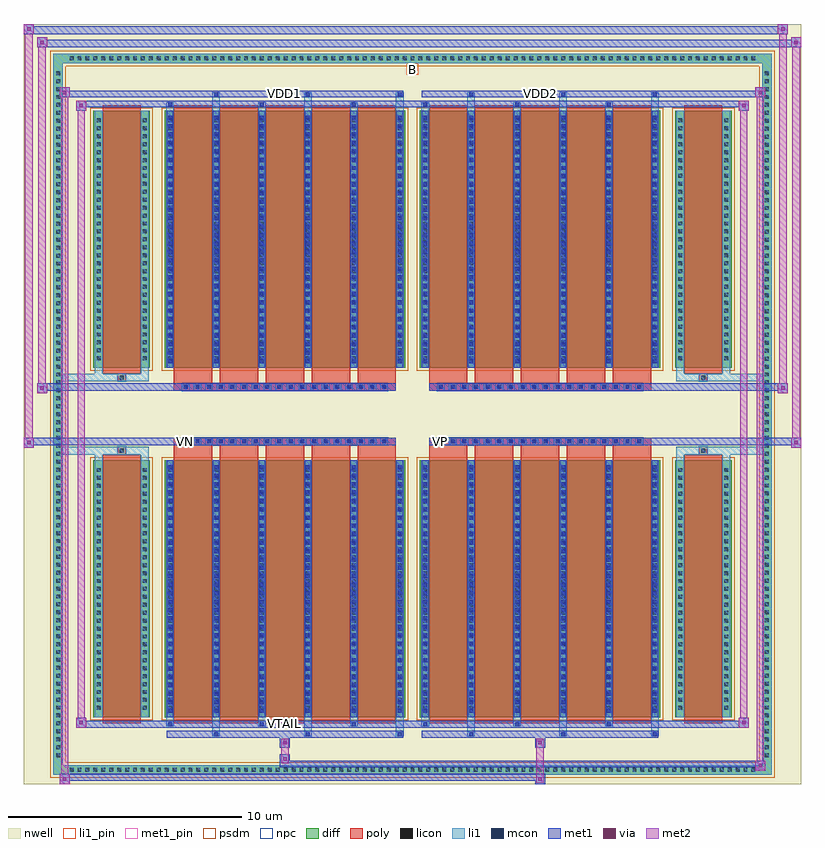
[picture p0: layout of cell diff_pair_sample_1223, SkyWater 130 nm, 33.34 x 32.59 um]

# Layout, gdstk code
import gdstk
lib = gdstk.Library(unit=1e-6, precision=5e-09)
def R(c, l, rs):  # rectangles x0, y0, x1, y1
    for r in rs: c.add(gdstk.rectangle(r[:2], r[2:], *l))
def A(c, l, x, y, w, h, nx, ny, dx, dy):  # array of equal rectangles
    R(c, l, [(x+i*dx, y+j*dy, x+i*dx+w, y+j*dy+h) for i in range(nx) for j in range(ny)])
def P(c, l, *ps):  # polygons
    for p in ps: c.add(gdstk.Polygon(p, *l))
nwell = (64, 20)
diff = (65, 20)
poly = (66, 20)
licon = (66, 44)
li1_pin = (67, 16)
li1 = (67, 20)
mcon = (67, 44)
met1_pin = (68, 16)
met1 = (68, 20)
via = (68, 44)
met2 = (69, 20)
psdm = (94, 20)
npc = (95, 20)

diff_pair_sample_1223 = lib.new_cell('diff_pair_sample_1223')
R(diff_pair_sample_1223, nwell, [(-16.67,-15.86,16.67,16.73), (-13.99,-14.05,-0.01,-0.805), (0.01,-14.05,13.99,-0.805), (-13.99,0.805,-0.01,14.05), (0.01,0.805,13.99,14.05)])
A(diff_pair_sample_1223, diff, -14.825, -15.46, 0.41, 0.41, 87, 2, 0.34, 30.51)
A(diff_pair_sample_1223, diff, -15.4, -14.825, 0.41, 0.41, 1, 87, 0, 0.34)
A(diff_pair_sample_1223, diff, 14.99, -14.825, 0.41, 0.41, 1, 87, 0, 0.34)
R(diff_pair_sample_1223, diff, [(-14.825,-15.46,14.825,-15.05), (-15.4,-14.825,-14.99,14.825), (14.99,-14.825,15.4,14.825), (-13.68,-13.005,-11.26,-1.985), (-10.62,-13.005,-0.32,-1.985), (0.32,-13.005,10.62,-1.985), (11.26,-13.005,13.68,-1.985), (-13.68,1.985,-11.26,13.005), (-10.62,1.985,-0.32,13.005), (0.32,1.985,10.62,13.005), (11.26,1.985,13.68,13.005), (-14.825,15.05,14.825,15.46)])
P(diff_pair_sample_1223, diff, [(15.4,15.46),(-15.4,15.46),(-15.4,-15.05),(-14.99,-15.05),(-14.99,15.05),(14.99,15.05),(14.99,-15.05),(-14.99,-15.05),(-15.4,-15.05),(-15.4,-15.46),(15.4,-15.46)])
A(diff_pair_sample_1223, poly, -10.23, -13.255, 1.64, 11.52, 5, 2, 1.97, 14.99)
A(diff_pair_sample_1223, poly, 0.71, -13.255, 1.64, 11.52, 5, 2, 1.97, 14.99)
A(diff_pair_sample_1223, poly, -10.23, -1.735, 1.64, 0.4, 5, 2, 1.97, 3.07)
A(diff_pair_sample_1223, poly, 0.71, -1.735, 1.64, 0.4, 5, 2, 1.97, 3.07)
A(diff_pair_sample_1223, poly, -9.885, -1.335, 0.33, 0.33, 18, 2, 0.5, 2.34)
A(diff_pair_sample_1223, poly, 1.055, -1.335, 0.33, 0.33, 18, 2, 0.5, 2.34)
R(diff_pair_sample_1223, poly, [(-13.29,-13.255,-11.65,-1.735), (11.65,-13.255,13.29,-1.735), (-12.635,-1.735,-12.305,-1.405), (-12.635,-1.735,-12.305,-1.405), (12.305,-1.735,12.635,-1.405), (12.305,-1.735,12.635,-1.405), (-10.23,-1.335,-0.71,-1.005), (0.71,-1.335,10.23,-1.005), (-10.23,1.005,-0.71,1.335), (0.71,1.005,10.23,1.335), (-12.635,1.405,-12.305,1.735), (-12.635,1.405,-12.305,1.735), (12.305,1.405,12.635,1.735), (12.305,1.405,12.635,1.735), (-13.29,1.735,-11.65,13.255), (11.65,1.735,13.29,13.255)])
A(diff_pair_sample_1223, licon, -14.705, -15.34, 0.17, 0.17, 87, 2, 0.34, 30.51)
A(diff_pair_sample_1223, licon, -15.28, -14.705, 0.17, 0.17, 1, 87, 0, 0.34)
A(diff_pair_sample_1223, licon, 15.11, -14.705, 0.17, 0.17, 1, 87, 0, 0.34)
A(diff_pair_sample_1223, licon, -13.54, -12.68, 0.17, 0.17, 1, 31, 0, 0.34)
A(diff_pair_sample_1223, licon, -11.57, -12.68, 0.17, 0.17, 1, 31, 0, 0.34)
A(diff_pair_sample_1223, licon, -10.48, -12.68, 0.17, 0.17, 6, 31, 1.97, 0.34)
A(diff_pair_sample_1223, licon, 0.46, -12.68, 0.17, 0.17, 6, 31, 1.97, 0.34)
A(diff_pair_sample_1223, licon, 11.4, -12.68, 0.17, 0.17, 1, 31, 0, 0.34)
A(diff_pair_sample_1223, licon, 13.37, -12.68, 0.17, 0.17, 1, 31, 0, 0.34)
A(diff_pair_sample_1223, licon, -9.805, -1.255, 0.17, 0.17, 18, 2, 0.5, 2.34)
A(diff_pair_sample_1223, licon, 1.135, -1.255, 0.17, 0.17, 18, 2, 0.5, 2.34)
A(diff_pair_sample_1223, licon, -13.54, 2.31, 0.17, 0.17, 1, 31, 0, 0.34)
A(diff_pair_sample_1223, licon, -11.57, 2.31, 0.17, 0.17, 1, 31, 0, 0.34)
A(diff_pair_sample_1223, licon, -10.48, 2.31, 0.17, 0.17, 6, 31, 1.97, 0.34)
A(diff_pair_sample_1223, licon, 0.46, 2.31, 0.17, 0.17, 6, 31, 1.97, 0.34)
A(diff_pair_sample_1223, licon, 11.4, 2.31, 0.17, 0.17, 1, 31, 0, 0.34)
A(diff_pair_sample_1223, licon, 13.37, 2.31, 0.17, 0.17, 1, 31, 0, 0.34)
R(diff_pair_sample_1223, licon, [(-12.555,-1.655,-12.385,-1.485), (12.385,-1.655,12.555,-1.485), (-12.555,1.485,-12.385,1.655), (12.385,1.485,12.555,1.655)])
R(diff_pair_sample_1223, li1_pin, [(-0.25,14.55,0.25,15.05)])
A(diff_pair_sample_1223, li1, -14.785, -15.42, 0.33, 0.33, 87, 2, 0.34, 30.51)
A(diff_pair_sample_1223, li1, -15.36, -14.785, 0.33, 0.33, 1, 87, 0, 0.34)
A(diff_pair_sample_1223, li1, 15.03, -14.785, 0.33, 0.33, 1, 87, 0, 0.34)
A(diff_pair_sample_1223, li1, -8.59, -13.81, 0.33, 0.805, 3, 2, 3.94, 26.815)
A(diff_pair_sample_1223, li1, -8.51, -13.81, 0.17, 0.17, 3, 2, 3.94, 27.45)
A(diff_pair_sample_1223, li1, 2.35, -13.81, 0.33, 0.805, 3, 2, 3.94, 26.815)
A(diff_pair_sample_1223, li1, 2.43, -13.81, 0.17, 0.17, 3, 2, 3.94, 27.45)
A(diff_pair_sample_1223, li1, -10.56, -13.38, 0.33, 0.375, 3, 2, 3.94, 26.385)
A(diff_pair_sample_1223, li1, -10.48, -13.38, 0.17, 0.17, 3, 2, 3.94, 26.59)
A(diff_pair_sample_1223, li1, 0.38, -13.38, 0.33, 0.375, 3, 2, 3.94, 26.385)
A(diff_pair_sample_1223, li1, 0.46, -13.38, 0.17, 0.17, 3, 2, 3.94, 26.59)
A(diff_pair_sample_1223, li1, -10.56, -13.005, 0.33, 11.02, 6, 2, 1.97, 14.99)
A(diff_pair_sample_1223, li1, 0.38, -13.005, 0.33, 11.02, 6, 2, 1.97, 14.99)
A(diff_pair_sample_1223, li1, -10.48, -12.8, 0.17, 0.17, 6, 30, 1.97, 0.36)
A(diff_pair_sample_1223, li1, -10.48, -12.8, 0.17, 10.61, 6, 2, 1.97, 14.99)
A(diff_pair_sample_1223, li1, 0.46, -12.8, 0.17, 0.17, 6, 30, 1.97, 0.36)
A(diff_pair_sample_1223, li1, 0.46, -12.8, 0.17, 10.61, 6, 2, 1.97, 14.99)
A(diff_pair_sample_1223, li1, -13.62, -12.76, 0.33, 0.33, 1, 31, 0, 0.34)
A(diff_pair_sample_1223, li1, -11.65, -12.76, 0.33, 0.33, 1, 31, 0, 0.34)
A(diff_pair_sample_1223, li1, -10.56, -12.76, 0.33, 0.33, 6, 31, 1.97, 0.34)
A(diff_pair_sample_1223, li1, 0.38, -12.76, 0.33, 0.33, 6, 31, 1.97, 0.34)
A(diff_pair_sample_1223, li1, 11.32, -12.76, 0.33, 0.33, 1, 31, 0, 0.34)
A(diff_pair_sample_1223, li1, 13.29, -12.76, 0.33, 0.33, 1, 31, 0, 0.34)
A(diff_pair_sample_1223, li1, -9.885, -1.335, 0.33, 0.33, 18, 2, 0.5, 2.34)
A(diff_pair_sample_1223, li1, 1.055, -1.335, 0.33, 0.33, 18, 2, 0.5, 2.34)
A(diff_pair_sample_1223, li1, -10.48, 2.19, 0.17, 0.17, 6, 30, 1.97, 0.36)
A(diff_pair_sample_1223, li1, 0.46, 2.19, 0.17, 0.17, 6, 30, 1.97, 0.36)
A(diff_pair_sample_1223, li1, -13.62, 2.23, 0.33, 0.33, 1, 31, 0, 0.34)
A(diff_pair_sample_1223, li1, -11.65, 2.23, 0.33, 0.33, 1, 31, 0, 0.34)
A(diff_pair_sample_1223, li1, -10.56, 2.23, 0.33, 0.33, 6, 31, 1.97, 0.34)
A(diff_pair_sample_1223, li1, 0.38, 2.23, 0.33, 0.33, 6, 31, 1.97, 0.34)
A(diff_pair_sample_1223, li1, 11.32, 2.23, 0.33, 0.33, 1, 31, 0, 0.34)
A(diff_pair_sample_1223, li1, 13.29, 2.23, 0.33, 0.33, 1, 31, 0, 0.34)
R(diff_pair_sample_1223, li1, [(-15.4,-15.46,-14.99,-15.05), (-15.4,-15.46,-14.99,-15.05), (-14.99,-15.46,14.99,-15.05), (14.99,-15.46,15.4,-15.05), (14.99,-15.46,15.4,-15.05), (-15.4,-15.05,-14.99,15.05), (14.99,-15.05,15.4,15.05), (-13.62,-13.005,-13.29,-1.985), (-11.65,-13.005,-11.32,-1.985), (11.32,-13.005,11.65,-1.985), (13.29,-13.005,13.62,-1.985), (-13.62,-1.985,-13.29,-1.405), (-11.65,-1.985,-11.32,-1.405), (11.32,-1.985,11.65,-1.405), (13.29,-1.985,13.62,-1.405), (-15.4,-1.735,-12.635,-1.405), (-13.62,-1.735,-12.635,-1.405), (-12.635,-1.735,-12.305,-1.405), (-12.305,-1.735,-11.32,-1.405), (11.32,-1.735,12.305,-1.405), (12.305,-1.735,12.635,-1.405), (12.305,-1.735,15.4,-1.405), (12.635,-1.735,13.62,-1.405), (-15.4,1.405,-12.635,1.735), (-13.62,1.405,-12.635,1.735), (-13.62,1.405,-13.29,1.985), (-12.635,1.405,-12.305,1.735), (-12.305,1.405,-11.32,1.735), (-11.65,1.405,-11.32,1.985), (11.32,1.405,12.305,1.735), (11.32,1.405,11.65,1.985), (12.305,1.405,12.635,1.735), (12.305,1.405,15.4,1.735), (12.635,1.405,13.62,1.735), (13.29,1.405,13.62,1.985), (-13.62,1.985,-13.29,13.005), (-11.65,1.985,-11.32,13.005), (11.32,1.985,11.65,13.005), (13.29,1.985,13.62,13.005), (-15.4,15.05,-14.99,15.46), (-15.4,15.05,-14.99,15.46), (-14.99,15.05,14.99,15.46), (14.99,15.05,15.4,15.46), (14.99,15.05,15.4,15.46)])
A(diff_pair_sample_1223, mcon, -8.51, -13.81, 0.17, 0.17, 3, 2, 3.94, 27.45)
A(diff_pair_sample_1223, mcon, 2.43, -13.81, 0.17, 0.17, 3, 2, 3.94, 27.45)
A(diff_pair_sample_1223, mcon, -10.48, -13.38, 0.17, 0.17, 3, 2, 3.94, 26.59)
A(diff_pair_sample_1223, mcon, 0.46, -13.38, 0.17, 0.17, 3, 2, 3.94, 26.59)
A(diff_pair_sample_1223, mcon, -10.48, -12.8, 0.17, 0.17, 6, 30, 1.97, 0.36)
A(diff_pair_sample_1223, mcon, 0.46, -12.8, 0.17, 0.17, 6, 30, 1.97, 0.36)
A(diff_pair_sample_1223, mcon, -9.805, -1.255, 0.17, 0.17, 18, 2, 0.5, 2.34)
A(diff_pair_sample_1223, mcon, 1.135, -1.255, 0.17, 0.17, 18, 2, 0.5, 2.34)
A(diff_pair_sample_1223, mcon, -10.48, 2.19, 0.17, 0.17, 6, 30, 1.97, 0.36)
A(diff_pair_sample_1223, mcon, 0.46, 2.19, 0.17, 0.17, 6, 30, 1.97, 0.36)
R(diff_pair_sample_1223, met1_pin, [(-5.605,-13.42,-5.335,-13.15), (-9.855,-1.295,-9.585,-1.025), (1.085,-1.295,1.355,-1.025), (-5.605,13.6,-5.335,13.87), (5.335,13.6,5.605,13.87)])
A(diff_pair_sample_1223, met1, -8.57, -13.87, 0.29, 0.29, 3, 2, 3.94, 27.45)
A(diff_pair_sample_1223, met1, 2.37, -13.87, 0.29, 0.29, 3, 2, 3.94, 27.45)
A(diff_pair_sample_1223, met1, -10.54, -13.44, 0.29, 0.29, 3, 2, 3.94, 26.59)
A(diff_pair_sample_1223, met1, 0.4, -13.44, 0.29, 0.29, 3, 2, 3.94, 26.59)
A(diff_pair_sample_1223, met1, -10.54, -13.005, 0.29, 11.02, 6, 2, 1.97, 14.99)
A(diff_pair_sample_1223, met1, 0.4, -13.005, 0.29, 11.02, 6, 2, 1.97, 14.99)
A(diff_pair_sample_1223, met1, -10.54, -12.86, 0.29, 0.29, 6, 30, 1.97, 0.36)
A(diff_pair_sample_1223, met1, 0.4, -12.86, 0.29, 0.29, 6, 30, 1.97, 0.36)
A(diff_pair_sample_1223, met1, -9.865, -1.315, 0.29, 0.29, 18, 2, 0.5, 2.34)
A(diff_pair_sample_1223, met1, 1.075, -1.315, 0.29, 0.29, 18, 2, 0.5, 2.34)
A(diff_pair_sample_1223, met1, -10.54, 2.13, 0.29, 0.29, 6, 30, 1.97, 0.36)
A(diff_pair_sample_1223, met1, 0.4, 2.13, 0.29, 0.29, 6, 30, 1.97, 0.36)
R(diff_pair_sample_1223, met1, [(-15.13,-15.86,-14.7,-15.43), (5.255,-15.86,5.685,-15.43), (-15.13,-15.72,5.685,-15.43), (14.7,-15.29,15.13,-14.86), (-5.685,-15.15,15.13,-14.86), (-5.685,-15.01,-5.255,-14.58), (-5.685,-14.3,-5.255,-13.87), (5.255,-14.3,5.685,-13.87), (-10.54,-13.87,-0.4,-13.58), (0.4,-13.87,10.54,-13.58), (-14.42,-13.44,-13.99,-13.01), (-14.42,-13.44,-10.54,-13.15), (-10.54,-13.44,-0.4,-13.15), (-0.4,-13.44,0.4,-13.15), (0.4,-13.44,10.54,-13.15), (10.54,-13.44,14.42,-13.15), (13.99,-13.44,14.42,-13.01), (-16.67,-1.435,-16.24,-1.005), (16.24,-1.435,16.67,-1.005), (-16.67,-1.335,-0.71,-1.005), (-10.23,-1.335,-0.71,-1.005), (0.71,-1.335,10.23,-1.005), (0.71,-1.335,16.67,-1.005), (-16.1,0.905,-15.67,1.335), (15.67,0.905,16.1,1.335), (-16.1,1.005,-10.23,1.335), (-10.23,1.005,-0.71,1.335), (0.71,1.005,10.23,1.335), (10.23,1.005,16.1,1.335), (-14.42,13.01,-13.99,13.44), (13.99,13.01,14.42,13.44), (-14.42,13.15,-10.54,13.44), (-10.54,13.15,-0.4,13.44), (-0.4,13.15,0.4,13.44), (0.4,13.15,10.54,13.44), (10.54,13.15,14.42,13.44), (-15.13,13.58,-14.7,14.01), (-15.13,13.58,-10.54,13.87), (-10.54,13.58,-0.4,13.87), (0.4,13.58,10.54,13.87), (10.54,13.58,15.13,13.87), (14.7,13.58,15.13,14.01), (-16.1,15.73,-15.67,16.16), (-16.1,15.73,-13.99,16.06), (-13.99,15.73,13.99,16.06), (13.99,15.73,16.67,16.06), (16.24,15.73,16.67,16.16), (-16.67,16.3,-16.24,16.73), (-16.67,16.3,-13.99,16.63), (-13.99,16.3,13.99,16.63), (13.99,16.3,16.1,16.63), (15.67,16.3,16.1,16.73)])
R(diff_pair_sample_1223, via, [(-14.99,-15.72,-14.84,-15.57), (5.395,-15.72,5.545,-15.57), (14.84,-15.15,14.99,-15), (-5.545,-14.87,-5.395,-14.72), (-5.545,-14.16,-5.395,-14.01), (5.395,-14.16,5.545,-14.01), (-14.28,-13.3,-14.13,-13.15), (14.13,-13.3,14.28,-13.15), (-16.53,-1.295,-16.38,-1.145), (16.38,-1.295,16.53,-1.145), (-15.96,1.045,-15.81,1.195), (15.81,1.045,15.96,1.195), (-14.28,13.15,-14.13,13.3), (14.13,13.15,14.28,13.3), (-14.99,13.72,-14.84,13.87), (14.84,13.72,14.99,13.87), (-15.96,15.87,-15.81,16.02), (16.38,15.87,16.53,16.02), (-16.53,16.44,-16.38,16.59), (15.81,16.44,15.96,16.59)])
R(diff_pair_sample_1223, met2, [(-15.13,-15.86,-14.7,-15.43), (-15.06,-15.86,-14.77,14.01), (-14.77,-15.86,-14.7,-15.43), (-15.08,-15.81,-14.75,-15.48), (5.305,-15.81,5.635,-15.48), (5.305,-15.48,5.635,-14.25), (14.7,-15.29,15.13,-14.86), (14.77,-15.29,15.06,14.01), (15.06,-15.29,15.13,-14.86), (14.75,-15.24,15.08,-14.91), (-5.635,-14.96,-5.305,-14.63), (-5.635,-14.63,-5.305,-14.25), (-5.635,-14.25,-5.305,-13.92), (5.305,-14.25,5.635,-13.92), (-14.42,-13.44,-13.99,-13.01), (-14.35,-13.44,-14.06,13.44), (-14.06,-13.44,-13.99,-13.01), (13.99,-13.44,14.42,-13.01), (14.06,-13.44,14.35,13.44), (14.35,-13.44,14.42,-13.01), (-14.37,-13.39,-14.04,-13.06), (14.04,-13.39,14.37,-13.06), (-16.67,-1.435,-16.24,-1.005), (-16.62,-1.435,-16.29,16.73), (-16.29,-1.435,-16.24,-1.005), (16.24,-1.435,16.67,-1.005), (16.29,-1.435,16.62,16.16), (16.62,-1.435,16.67,-1.005), (-16.62,-1.385,-16.29,-1.055), (16.29,-1.385,16.62,-1.055), (-16.1,0.905,-15.67,1.335), (-16.05,0.905,-15.72,16.16), (-15.72,0.905,-15.67,1.335), (15.67,0.905,16.1,1.335), (15.72,0.905,16.05,16.73), (16.05,0.905,16.1,1.335), (-16.05,0.955,-15.72,1.285), (15.72,0.955,16.05,1.285), (-14.42,13.01,-13.99,13.44), (-14.06,13.01,-13.99,13.44), (13.99,13.01,14.42,13.44), (14.35,13.01,14.42,13.44), (-14.37,13.06,-14.04,13.39), (14.04,13.06,14.37,13.39), (-15.13,13.58,-14.7,14.01), (-14.77,13.58,-14.7,14.01), (14.7,13.58,15.13,14.01), (15.06,13.58,15.13,14.01), (-15.08,13.63,-14.75,13.96), (14.75,13.63,15.08,13.96), (-16.1,15.73,-15.67,16.16), (-15.72,15.73,-15.67,16.16), (16.24,15.73,16.67,16.16), (16.62,15.73,16.67,16.16), (-16.05,15.78,-15.72,16.11), (16.29,15.78,16.62,16.11), (-16.67,16.3,-16.24,16.73), (-16.29,16.3,-16.24,16.73), (15.67,16.3,16.1,16.73), (16.05,16.3,16.1,16.73), (-16.62,16.35,-16.29,16.68), (15.72,16.35,16.05,16.68)])
R(diff_pair_sample_1223, psdm, [(-13.81,-13.135,-11.13,-1.855), (-10.75,-13.135,-0.19,-1.855), (0.19,-13.135,10.75,-1.855), (11.13,-13.135,13.81,-1.855), (-13.81,1.855,-11.13,13.135), (-10.75,1.855,-0.19,13.135), (0.19,1.855,10.75,13.135), (11.13,1.855,13.81,13.135)])
P(diff_pair_sample_1223, psdm, [(15.53,15.59),(-15.53,15.59),(-15.53,-14.92),(-14.86,-14.92),(-14.86,14.92),(14.86,14.92),(14.86,-14.92),(-14.86,-14.92),(-15.53,-14.92),(-15.53,-15.59),(15.53,-15.59)])
A(diff_pair_sample_1223, npc, -9.905, -1.355, 0.37, 0.37, 18, 2, 0.5, 2.34)
A(diff_pair_sample_1223, npc, 1.035, -1.355, 0.37, 0.37, 18, 2, 0.5, 2.34)
R(diff_pair_sample_1223, npc, [(-12.655,-1.755,-12.285,-1.385), (12.285,-1.755,12.655,-1.385), (-9.905,-1.355,-9.035,-0.985), (-9.905,-1.355,-9.035,-0.985), (-9.405,-1.355,-8.535,-0.985), (-9.405,-1.355,-8.535,-0.985), (-8.905,-1.355,-8.035,-0.985), (-8.905,-1.355,-8.035,-0.985), (-8.405,-1.355,-7.535,-0.985), (-8.405,-1.355,-7.535,-0.985), (-7.905,-1.355,-7.035,-0.985), (-7.905,-1.355,-7.035,-0.985), (-7.405,-1.355,-6.535,-0.985), (-7.405,-1.355,-6.535,-0.985), (-6.905,-1.355,-6.035,-0.985), (-6.905,-1.355,-6.035,-0.985), (-6.405,-1.355,-5.535,-0.985), (-6.405,-1.355,-5.535,-0.985), (-5.905,-1.355,-5.035,-0.985), (-5.905,-1.355,-5.035,-0.985), (-5.405,-1.355,-4.535,-0.985), (-5.405,-1.355,-4.535,-0.985), (-4.905,-1.355,-4.035,-0.985), (-4.905,-1.355,-4.035,-0.985), (-4.405,-1.355,-3.535,-0.985), (-4.405,-1.355,-3.535,-0.985), (-3.905,-1.355,-3.035,-0.985), (-3.905,-1.355,-3.035,-0.985), (-3.405,-1.355,-2.535,-0.985), (-3.405,-1.355,-2.535,-0.985), (-2.905,-1.355,-2.035,-0.985), (-2.905,-1.355,-2.035,-0.985), (-2.405,-1.355,-1.535,-0.985), (-2.405,-1.355,-1.535,-0.985), (-1.905,-1.355,-1.035,-0.985), (-1.905,-1.355,-1.035,-0.985), (1.035,-1.355,1.905,-0.985), (1.035,-1.355,1.905,-0.985), (1.535,-1.355,2.405,-0.985), (1.535,-1.355,2.405,-0.985), (2.035,-1.355,2.905,-0.985), (2.035,-1.355,2.905,-0.985), (2.535,-1.355,3.405,-0.985), (2.535,-1.355,3.405,-0.985), (3.035,-1.355,3.905,-0.985), (3.035,-1.355,3.905,-0.985), (3.535,-1.355,4.405,-0.985), (3.535,-1.355,4.405,-0.985), (4.035,-1.355,4.905,-0.985), (4.035,-1.355,4.905,-0.985), (4.535,-1.355,5.405,-0.985), (4.535,-1.355,5.405,-0.985), (5.035,-1.355,5.905,-0.985), (5.035,-1.355,5.905,-0.985), (5.535,-1.355,6.405,-0.985), (5.535,-1.355,6.405,-0.985), (6.035,-1.355,6.905,-0.985), (6.035,-1.355,6.905,-0.985), (6.535,-1.355,7.405,-0.985), (6.535,-1.355,7.405,-0.985), (7.035,-1.355,7.905,-0.985), (7.035,-1.355,7.905,-0.985), (7.535,-1.355,8.405,-0.985), (7.535,-1.355,8.405,-0.985), (8.035,-1.355,8.905,-0.985), (8.035,-1.355,8.905,-0.985), (8.535,-1.355,9.405,-0.985), (8.535,-1.355,9.405,-0.985), (9.035,-1.355,9.905,-0.985), (9.035,-1.355,9.905,-0.985), (-9.905,0.985,-9.035,1.355), (-9.905,0.985,-9.035,1.355), (-9.405,0.985,-8.535,1.355), (-9.405,0.985,-8.535,1.355), (-8.905,0.985,-8.035,1.355), (-8.905,0.985,-8.035,1.355), (-8.405,0.985,-7.535,1.355), (-8.405,0.985,-7.535,1.355), (-7.905,0.985,-7.035,1.355), (-7.905,0.985,-7.035,1.355), (-7.405,0.985,-6.535,1.355), (-7.405,0.985,-6.535,1.355), (-6.905,0.985,-6.035,1.355), (-6.905,0.985,-6.035,1.355), (-6.405,0.985,-5.535,1.355), (-6.405,0.985,-5.535,1.355), (-5.905,0.985,-5.035,1.355), (-5.905,0.985,-5.035,1.355), (-5.405,0.985,-4.535,1.355), (-5.405,0.985,-4.535,1.355), (-4.905,0.985,-4.035,1.355), (-4.905,0.985,-4.035,1.355), (-4.405,0.985,-3.535,1.355), (-4.405,0.985,-3.535,1.355), (-3.905,0.985,-3.035,1.355), (-3.905,0.985,-3.035,1.355), (-3.405,0.985,-2.535,1.355), (-3.405,0.985,-2.535,1.355), (-2.905,0.985,-2.035,1.355), (-2.905,0.985,-2.035,1.355), (-2.405,0.985,-1.535,1.355), (-2.405,0.985,-1.535,1.355), (-1.905,0.985,-1.035,1.355), (-1.905,0.985,-1.035,1.355), (1.035,0.985,1.905,1.355), (1.035,0.985,1.905,1.355), (1.535,0.985,2.405,1.355), (1.535,0.985,2.405,1.355), (2.035,0.985,2.905,1.355), (2.035,0.985,2.905,1.355), (2.535,0.985,3.405,1.355), (2.535,0.985,3.405,1.355), (3.035,0.985,3.905,1.355), (3.035,0.985,3.905,1.355), (3.535,0.985,4.405,1.355), (3.535,0.985,4.405,1.355), (4.035,0.985,4.905,1.355), (4.035,0.985,4.905,1.355), (4.535,0.985,5.405,1.355), (4.535,0.985,5.405,1.355), (5.035,0.985,5.905,1.355), (5.035,0.985,5.905,1.355), (5.535,0.985,6.405,1.355), (5.535,0.985,6.405,1.355), (6.035,0.985,6.905,1.355), (6.035,0.985,6.905,1.355), (6.535,0.985,7.405,1.355), (6.535,0.985,7.405,1.355), (7.035,0.985,7.905,1.355), (7.035,0.985,7.905,1.355), (7.535,0.985,8.405,1.355), (7.535,0.985,8.405,1.355), (8.035,0.985,8.905,1.355), (8.035,0.985,8.905,1.355), (8.535,0.985,9.405,1.355), (8.535,0.985,9.405,1.355), (9.035,0.985,9.905,1.355), (9.035,0.985,9.905,1.355), (-12.655,1.385,-12.285,1.755), (12.285,1.385,12.655,1.755)])
diff_pair_sample_1223.add(gdstk.Label('VTAIL', (-5.47,-13.285), layer=68, texttype=5))
diff_pair_sample_1223.add(gdstk.Label('VN', (-9.72,-1.16), layer=68, texttype=5))
diff_pair_sample_1223.add(gdstk.Label('VP', (1.22,-1.16), layer=68, texttype=5))
diff_pair_sample_1223.add(gdstk.Label('B', (0,14.8), layer=67, texttype=5))
diff_pair_sample_1223.add(gdstk.Label('VDD2', (5.47,13.735), layer=68, texttype=5))
diff_pair_sample_1223.add(gdstk.Label('VDD1', (-5.47,13.735), layer=68, texttype=5))

lib.write_gds('diff_pair_sample_1223.gds')
